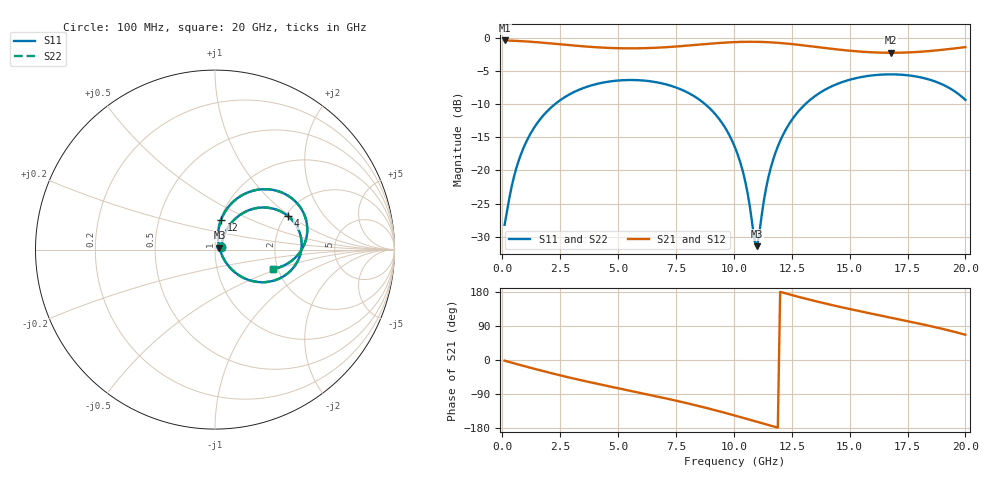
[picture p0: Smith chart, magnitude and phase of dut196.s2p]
! Touchstone file exported from HFSS 2026.1.0
!  File:  C:/ffzhzh/LocalFiles/Ansys_Project_Files/temp_train_TSV_RDL_196_1783059688_18316.aedt
!  Generated:  02:30:26 PM Jul  3, 2026
!  Design:  TSV_RDL
!  Project:  temp_train_TSV_RDL_196_1783059688_18316
! Variables:
!  h_bsmrdl = 5.89um
!  h_ox = 20um
!  h_rdl = 5um
!  h_sub = 88.85um
!  h_tmrdl = 3.38um
!  h_tsv = 88.85um
!  h_via = 3um
!  l_bsmrdl = 181.19um
!  l_sub = 4339.86um
!  l_tmrdl = 820.79um
!  m_sub = 200um
!  pitch = 40.38um
!  r_tsv = 13.42um
!  s_tmrdl = 10um
!  w_bsmrdl = 27.64um
!  w_sub = 500um
!  w_tmrdl = 10.07um
!  x_tsv_center1 = 825.825um
!  x_tsv_center2 = 1034.655um
!  x_tsv_center3 = 1865.515um
!  x_tsv_center4 = 2074.345um
!  x_tsv_center5 = 2905.205um
!  x_tsv_center6 = 3114.035um
# GHz S MA R 50.000000
! Terminal data exported
! Port[1] = TM_RDL1_1_T1
! Port[2] = TM_RDL5_1_T1
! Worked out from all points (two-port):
!   200 points, 100 MHz to 20 GHz, reference 50 ohm
!   highest |S21| = -0.31 dB at 100 MHz (marker M1); lowest = -2.2 dB at 16.8 GHz (marker M2)
!   |S21| within 3 dB of the highest: start of sweep to end of sweep
!   lowest |S11| = -31.5 dB at 11 GHz (marker M3), VSWR 1.05, Z = 52.5 + j1.11 ohm
!   |S11| at or under -10 dB: start of sweep to 2.259 GHz; 8.773 GHz to 13.07 GHz (4.3 GHz wide, 39.4 % of centre)
!   |S22| runs from -31.5 to -5.4 dB; largest |S21 - S12| = 1.7e-14
!   S11 on the Smith chart (normalised r, x): 100 MHz: 1.07, +0.03; 4 GHz: 2.08, +0.97; 12 GHz: 1.01, +0.34; 20 GHz: 1.89, -0.46
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0.1  0.03875 23.9  0.9649 -1.8  0.9649 -1.8  0.03875 23.9
! Gamma 0 0 0 0
! Port Impedance 50 0 50 0
0.6  0.1033 58.3  0.9578 -10.3  0.9578 -10.3  0.1033 58.3
1.2  0.1875 57.8  0.9442 -20.2  0.9442 -20.2  0.1875 57.8
2.2  0.31 47.0  0.9128 -36.0  0.9128 -36.0  0.31 47.0
3.5  0.4208 30.7  0.8709 -54.7  0.8709 -54.7  0.4208 30.7
4  0.4483 24.5  0.8583 -61.5  0.8583 -61.5  0.4483 24.5
5.4  0.484 7.5  0.8408 -79.6  0.8408 -79.6  0.484 7.5
6.8  0.4605 -9.5  0.8524 -97.7  0.8524 -97.7  0.4605 -9.5
8.8  0.3134 -35.4  0.9067 -126.3  0.9067 -126.3  0.3134 -35.4
9.5  0.2276 -44.4  0.9265 -137.5  0.9265 -137.5  0.2276 -44.4
10.1  0.142 -50.0  0.9385 -147.5  0.9385 -147.5  0.142 -50.1
10.5  0.08144 -48.4  0.9426 -154.4  0.9426 -154.4  0.0814 -48.6
10.9  0.02906 -8.8  0.9428 -161.3  0.9428 -161.3  0.02889 -9.0
11  0.02673 23.4  0.9423 -163.0  0.9423 -163.0  0.02652 23.4
11.5  0.09003 78.8  0.9357 -171.7  0.9357 -171.7  0.08995 79.0
12  0.1675 78.6  0.9232 179.7  0.9232 179.7  0.1674 78.6
13.4  0.3544 61.7  0.8687 157.2  0.8687 157.2  0.3543 61.7
14.9  0.4806 42.5  0.8101 135.9  0.8101 135.9  0.4806 42.5
16.7  0.5343 21.3  0.7785 112.8  0.7785 112.8  0.5343 21.4
16.8  0.5344 20.2  0.7784 111.6  0.7784 111.6  0.5344 20.2
18.4  0.4904 1.5  0.8008 90.8  0.8008 90.8  0.4904 1.5
20  0.3422 -18.2  0.8588 66.7  0.8588 66.7  0.3422 -18.2
